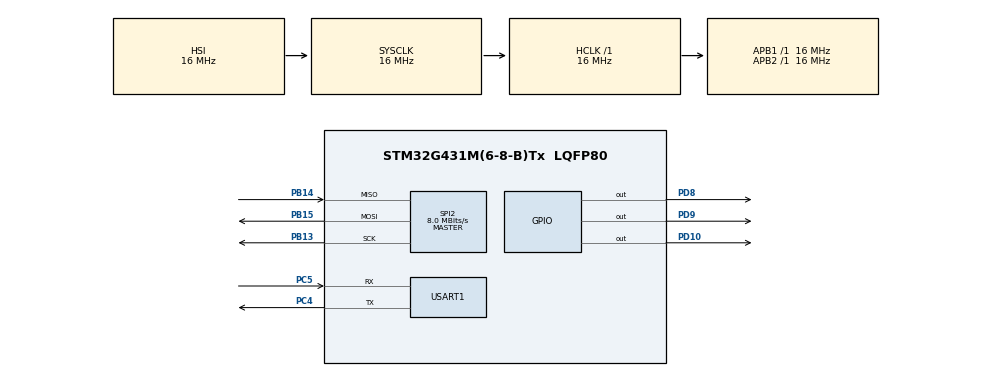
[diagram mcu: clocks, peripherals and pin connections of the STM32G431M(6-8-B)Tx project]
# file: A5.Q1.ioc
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Mcu.Family=STM32G4
Mcu.Name=STM32G431M(6-8-B)Tx
Mcu.Package=LQFP80
NVIC.PriorityGroup=NVIC_PRIORITYGROUP_4
PA13.Mode=Serial_Wire
PA13.Signal=SYS_JTMS-SWDIO
PA14.Mode=Serial_Wire
PA14.Signal=SYS_JTCK-SWCLK
PB13.Mode=Full_Duplex_Master
PB13.Signal=SPI2_SCK
PB14.Mode=Full_Duplex_Master
PB14.Signal=SPI2_MISO
PB15.Mode=Full_Duplex_Master
PB15.Signal=SPI2_MOSI
PC4.Mode=Asynchronous
PC4.Signal=USART1_TX
PC5.Mode=Asynchronous
PC5.Signal=USART1_RX
PD10.Signal=GPIO_Output
PD8.Signal=GPIO_Output
PD9.Signal=GPIO_Output
ProjectManager.HeapSize=0x200
ProjectManager.StackSize=0x400
ProjectManager.TargetToolchain=STM32CubeIDE
RCC.AHBFreq_Value=16000000
RCC.APB1Freq_Value=16000000
RCC.APB1TimFreq_Value=16000000
RCC.APB2Freq_Value=16000000
RCC.APB2TimFreq_Value=16000000
RCC.CortexFreq_Value=16000000
RCC.EXTERNAL_CLOCK_VALUE=12288000
RCC.HCLKFreq_Value=16000000
RCC.HSE_VALUE=8000000
RCC.HSI48_VALUE=48000000
RCC.HSI_VALUE=16000000
RCC.LSE_VALUE=32768
RCC.SYSCLKFreq_VALUE=16000000
RCC.USBFreq_Value=64000000
RCC.VCOOutputFreq_Value=128000000
SPI2.CalculateBaudRate=8.0 MBits/s
SPI2.Direction=SPI_DIRECTION_2LINES
SPI2.Mode=SPI_MODE_MASTER
SPI2.VirtualType=VM_MASTER
USART1.VirtualMode-Asynchronous=VM_ASYNC
VP_SYS_VS_DBSignals.Mode=DisableDeadBatterySignals
board=custom

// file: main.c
/* USER CODE BEGIN Header */
/**
  ******************************************************************************
  * @file           : main.c
  * @brief          : Main program body
  ******************************************************************************
  * @attention
  *
  * Copyright (c) 2024 STMicroelectronics.
  * All rights reserved.
  *
  * This software is licensed under terms that can be found in the LICENSE file
  * in the root directory of this software component.
  * If no LICENSE file comes with this software, it is provided AS-IS.
  *
  ******************************************************************************
  */
/* USER CODE END Header */
#include "main.h"

SPI_HandleTypeDef hspi2;

UART_HandleTypeDef huart1;

void SystemClock_Config(void);
static void MX_GPIO_Init(void);
static void MX_SPI2_Init(void);
static void MX_USART1_UART_Init(void);

/* USER CODE BEGIN 0 */
#define DATA_TO_SPI "C-DACBLR"
const uint8_t EEPROM_READ=0x03;
const uint8_t EEPROM_WRITE=0x02;
const uint8_t EEPROM_WRDI=0x04;
const uint8_t EEPROM_WREN=0x06;
const uint8_t EEPROM_RDSR=0x05;
const uint8_t EEPROM_WRSR=0x01;

uint8_t printBuffer[128];
uint8_t spiDataRec[8];
uint16_t memAddr=0x100;
uint8_t addr[2];
uint8_t wip;
/* USER CODE END 0 */

int main(void)
{

  /* MCU Configuration--------------------------------------------------------*/

  /* Reset of all peripherals, Initializes the Flash interface and the Systick. */
  HAL_Init();

  /* Configure the system clock */
  SystemClock_Config();

  /* Initialize all configured peripherals */
  MX_GPIO_Init();
  MX_SPI2_Init();
  MX_USART1_UART_Init();
  /* USER CODE BEGIN 2 */
  HAL_GPIO_WritePin(GPIOD, GPIO_PIN_9, 1); //WP
  HAL_GPIO_WritePin(GPIOD, GPIO_PIN_10, 1);  //HOLD
  HAL_GPIO_WritePin(GPIOD, GPIO_PIN_8, 1);  //CS
  HAL_Delay(500);
  HAL_GPIO_WritePin(GPIOD, GPIO_PIN_8, 0);
  HAL_SPI_Transmit(&hspi2, (uint8_t *)&EEPROM_WREN, 1, 100);
  HAL_GPIO_WritePin(GPIOD, GPIO_PIN_8, 1);

  HAL_UART_Transmit(&huart1, "WRITE ENABLED\n\r", sizeof("WRITE ENABLED\n\r"), 100);
  addr[0]=memAddr >> 8;
  addr[1]=memAddr;

  HAL_GPIO_WritePin(GPIOD, GPIO_PIN_8, 0);
  HAL_SPI_Transmit(&hspi2, (uint8_t *)&EEPROM_WRITE, 1, 100);
  HAL_SPI_Transmit(&hspi2,(uint8_t *) addr, 2, 100);
  HAL_SPI_Transmit(&hspi2, (uint8_t *) DATA_TO_SPI, 8, 100);
  HAL_GPIO_WritePin(GPIOD, GPIO_PIN_8, 1);

  HAL_UART_Transmit(&huart1, "WRITTEN\n\r", sizeof("WRITTEN\n\r"), 100);

  wip=1;
  while(wip)
  {
  	HAL_GPIO_WritePin(GPIOD, GPIO_PIN_8, 0);
  	HAL_SPI_Transmit(&hspi2, (uint8_t*)&EEPROM_RDSR, 1, 100);
  	HAL_SPI_Receive(&hspi2, (uint8_t *)spiDataRec, 1, 100);
  	HAL_GPIO_WritePin(GPIOD, GPIO_PIN_8, 1);

  	wip= spiDataRec[0] & 0x01;
  }
  	memset(spiDataRec,0,sizeof(spiDataRec));
  	HAL_GPIO_WritePin(GPIOD, GPIO_PIN_8, 0);
  	HAL_SPI_Transmit(&hspi2, (uint8_t *)&EEPROM_READ, 1, 100);
  	HAL_SPI_Transmit(&hspi2, (uint8_t *)addr, 2, 100);
  	HAL_SPI_Receive(&hspi2, (uint8_t *)spiDataRec, sizeof(spiDataRec), 100);
  	HAL_GPIO_WritePin(GPIOD, GPIO_PIN_8, 1);
  	memset(printBuffer,0,sizeof(printBuffer));
  	sprintf(printBuffer,"Received data from addr:0x%X is %s\n\r",memAddr,spiDataRec);
  	HAL_UART_Transmit(&huart1, printBuffer, sizeof(printBuffer), 1000);
  	memset(printBuffer,0,sizeof(printBuffer));
  	memset(spiDataRec,0,sizeof(spiDataRec));

  /* USER CODE END 2 */

  /* Infinite loop */
  while (1)
  {

  }
}

void SystemClock_Config(void)
{
  RCC_OscInitTypeDef RCC_OscInitStruct = {0};
  RCC_ClkInitTypeDef RCC_ClkInitStruct = {0};

  /** Configure the main internal regulator output voltage
  */
  HAL_PWREx_ControlVoltageScaling(PWR_REGULATOR_VOLTAGE_SCALE1);

  /** Initializes the RCC Oscillators according to the specified parameters
  * in the RCC_OscInitTypeDef structure.
  */
  RCC_OscInitStruct.OscillatorType = RCC_OSCILLATORTYPE_HSI;
  RCC_OscInitStruct.HSIState = RCC_HSI_ON;
  RCC_OscInitStruct.HSICalibrationValue = RCC_HSICALIBRATION_DEFAULT;
  RCC_OscInitStruct.PLL.PLLState = RCC_PLL_NONE;
  if (HAL_RCC_OscConfig(&RCC_OscInitStruct) != HAL_OK)
  {
    Error_Handler();
  }

  /** Initializes the CPU, AHB and APB buses clocks
  */
  RCC_ClkInitStruct.ClockType = RCC_CLOCKTYPE_HCLK|RCC_CLOCKTYPE_SYSCLK
                              |RCC_CLOCKTYPE_PCLK1|RCC_CLOCKTYPE_PCLK2;
  RCC_ClkInitStruct.SYSCLKSource = RCC_SYSCLKSOURCE_HSI;
  RCC_ClkInitStruct.AHBCLKDivider = RCC_SYSCLK_DIV1;
  RCC_ClkInitStruct.APB1CLKDivider = RCC_HCLK_DIV1;
  RCC_ClkInitStruct.APB2CLKDivider = RCC_HCLK_DIV1;

  if (HAL_RCC_ClockConfig(&RCC_ClkInitStruct, FLASH_LATENCY_0) != HAL_OK)
  {
    Error_Handler();
  }
}

static void MX_SPI2_Init(void)
{

  /* SPI2 parameter configuration*/
  hspi2.Instance = SPI2;
  hspi2.Init.Mode = SPI_MODE_MASTER;
  hspi2.Init.Direction = SPI_DIRECTION_2LINES;
  hspi2.Init.DataSize = SPI_DATASIZE_4BIT;
  hspi2.Init.CLKPolarity = SPI_POLARITY_LOW;
  hspi2.Init.CLKPhase = SPI_PHASE_1EDGE;
  hspi2.Init.NSS = SPI_NSS_SOFT;
  hspi2.Init.BaudRatePrescaler = SPI_BAUDRATEPRESCALER_2;
  hspi2.Init.FirstBit = SPI_FIRSTBIT_MSB;
  hspi2.Init.TIMode = SPI_TIMODE_DISABLE;
  hspi2.Init.CRCCalculation = SPI_CRCCALCULATION_DISABLE;
  hspi2.Init.CRCPolynomial = 7;
  hspi2.Init.CRCLength = SPI_CRC_LENGTH_DATASIZE;
  hspi2.Init.NSSPMode = SPI_NSS_PULSE_ENABLE;
  if (HAL_SPI_Init(&hspi2) != HAL_OK)
  {
    Error_Handler();
  }

}

static void MX_USART1_UART_Init(void)
{

  huart1.Instance = USART1;
  huart1.Init.BaudRate = 115200;
  huart1.Init.WordLength = UART_WORDLENGTH_8B;
  huart1.Init.StopBits = UART_STOPBITS_1;
  huart1.Init.Parity = UART_PARITY_NONE;
  huart1.Init.Mode = UART_MODE_TX_RX;
  huart1.Init.HwFlowCtl = UART_HWCONTROL_NONE;
  huart1.Init.OverSampling = UART_OVERSAMPLING_16;
  huart1.Init.OneBitSampling = UART_ONE_BIT_SAMPLE_DISABLE;
  huart1.Init.ClockPrescaler = UART_PRESCALER_DIV1;
  huart1.AdvancedInit.AdvFeatureInit = UART_ADVFEATURE_NO_INIT;
  if (HAL_UART_Init(&huart1) != HAL_OK)
  {
    Error_Handler();
  }
  if (HAL_UARTEx_SetTxFifoThreshold(&huart1, UART_TXFIFO_THRESHOLD_1_8) != HAL_OK)
  {
    Error_Handler();
  }
  if (HAL_UARTEx_SetRxFifoThreshold(&huart1, UART_RXFIFO_THRESHOLD_1_8) != HAL_OK)
  {
    Error_Handler();
  }
  if (HAL_UARTEx_DisableFifoMode(&huart1) != HAL_OK)
  {
    Error_Handler();
  }

}

static void MX_GPIO_Init(void)
{
  GPIO_InitTypeDef GPIO_InitStruct = {0};

  /* GPIO Ports Clock Enable */
  __HAL_RCC_GPIOC_CLK_ENABLE();
  __HAL_RCC_GPIOB_CLK_ENABLE();
  __HAL_RCC_GPIOD_CLK_ENABLE();
  __HAL_RCC_GPIOA_CLK_ENABLE();

  /*Configure GPIO pin Output Level */
  HAL_GPIO_WritePin(GPIOD, GPIO_PIN_8|GPIO_PIN_9|GPIO_PIN_10, GPIO_PIN_RESET);

  /*Configure GPIO pins : PD8 PD9 PD10 */
  GPIO_InitStruct.Pin = GPIO_PIN_8|GPIO_PIN_9|GPIO_PIN_10;
  GPIO_InitStruct.Mode = GPIO_MODE_OUTPUT_PP;
  GPIO_InitStruct.Pull = GPIO_NOPULL;
  GPIO_InitStruct.Speed = GPIO_SPEED_FREQ_LOW;
  HAL_GPIO_Init(GPIOD, &GPIO_InitStruct);

}

void Error_Handler(void)
{
  __disable_irq();
  while (1)
  {
  }
}
